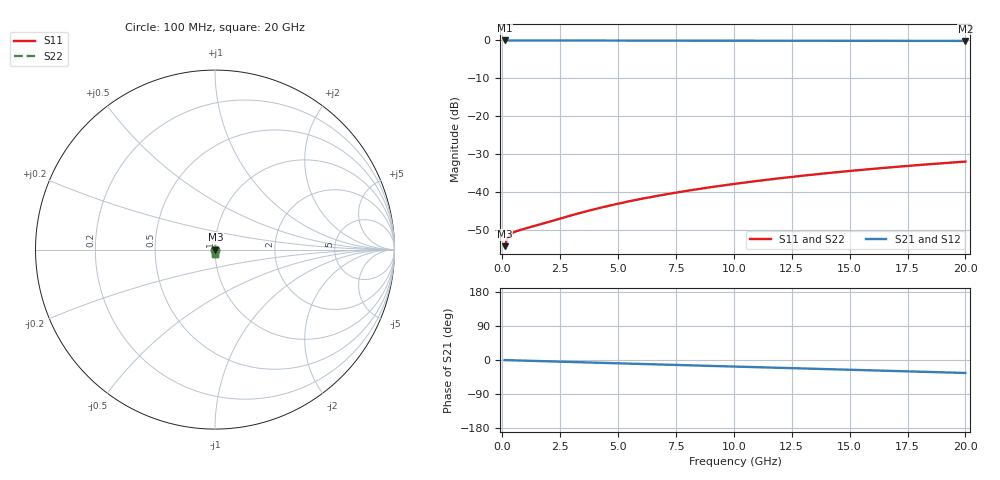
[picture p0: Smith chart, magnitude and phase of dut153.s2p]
! Touchstone file exported from HFSS 2026.1.0
!  File:  C:/ffzhzh/LocalFiles/Ansys_Project_Files/temp_train_TMRDL_153_1782983175_41620.aedt
!  Generated:  05:07:20 PM Jul  2, 2026
!  Design:  TMRDL
!  Project:  temp_train_TMRDL_153_1782983175_41620
! Variables:
!  h_bsmrdl = 2um
!  h_ox = 20um
!  h_rdl = 5um
!  h_sub = 80um
!  h_tmrdl = 4.82um
!  h_tsv = 80um
!  h_via = 3um
!  l_bsmrdl = 300um
!  l_sub = 1005.71um
!  l_tmrdl = 605.71um
!  m_sub = 200um
!  pitch = 34.96um
!  r_tsv = 6um
!  s_tmrdl = 10um
!  w_bsmrdl = 18um
!  w_sub = 500um
!  w_tmrdl = 29.81um
!  x_tsv_center1 = 620.615um
!  x_tsv_center2 = 938.615um
!  x_tsv_center3 = 1574.135um
!  x_tsv_center4 = 1892.135um
!  x_tsv_center5 = 2527.655um
!  x_tsv_center6 = 2845.655um
# GHz S MA R 50.000000
! Terminal data exported
! Port[1] = TM_RDL1_1_T1
! Port[2] = TM_RDL1_1_T2
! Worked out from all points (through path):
!   200 points, 100 MHz to 20 GHz, reference 50 ohm
!   highest |S21| = -0.02 dB at 100 MHz (marker M1); lowest = -0.1 dB at 20 GHz (marker M2)
!   group delay of S21, straight-line fit = 4.73 ps
!   lowest |S11| = -54.3 dB at 100 MHz (marker M3), VSWR 1.00, Z = 50.2 + j0.0526 ohm
!   |S11| at or under -10 dB: start of sweep to end of sweep
!   |S22| runs from -54.3 to -32.0 dB; largest |S21 - S12| = 7.2e-15
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0.1  0.001917 15.8  0.9982 -0.2  0.9982 -0.2  0.001917 15.8
! Gamma 0 0 0 0
! Port Impedance 50 0 50 0
0.2  0.002341 18.5  0.9978 -0.4  0.9978 -0.4  0.002341 18.5
0.3  0.00263 16.9  0.9975 -0.6  0.9975 -0.6  0.00263 16.9
0.4  0.002809 15.0  0.9973 -0.8  0.9973 -0.8  0.002808 15.0
0.5  0.002928 13.3  0.9971 -0.9  0.9971 -0.9  0.002927 13.3
0.6  0.003016 12.1  0.997 -1.1  0.997 -1.1  0.003015 12.1
0.8  0.003155 10.4  0.9969 -1.5  0.9969 -1.5  0.003154 10.4
1.5  0.003613 6.9  0.9964 -2.7  0.9964 -2.7  0.003612 6.9
2.8  0.004718 -1.3  0.9953 -5.0  0.9953 -5.0  0.004716 -1.3
3.5  0.005405 -7.0  0.9946 -6.2  0.9946 -6.2  0.005402 -6.9
4.3  0.006231 -13.8  0.9938 -7.6  0.9938 -7.6  0.006227 -13.8
5.1  0.007086 -20.5  0.993 -9.0  0.993 -9.0  0.007081 -20.5
5.9  0.007963 -26.8  0.9923 -10.3  0.9923 -10.3  0.007956 -26.8
6.8  0.008971 -33.4  0.9916 -11.9  0.9916 -11.9  0.008962 -33.4
8.4  0.01081 -43.7  0.9904 -14.6  0.9904 -14.6  0.0108 -43.7
10.1  0.01283 -53.0  0.9894 -17.5  0.9894 -17.5  0.01281 -53.0
11.7  0.01477 -60.5  0.9884 -20.2  0.9884 -20.2  0.01475 -60.5
13.4  0.01687 -67.5  0.9875 -23.1  0.9875 -23.1  0.01685 -67.4
15  0.01887 -73.3  0.9867 -25.8  0.9867 -25.8  0.01884 -73.3
16.7  0.021 -79.0  0.9858 -28.6  0.9858 -28.6  0.02096 -79.0
18.3  0.02299 -84.0  0.9851 -31.3  0.9851 -31.3  0.02296 -84.0
20  0.0251 -88.9  0.9843 -34.2  0.9843 -34.2  0.02506 -88.9
